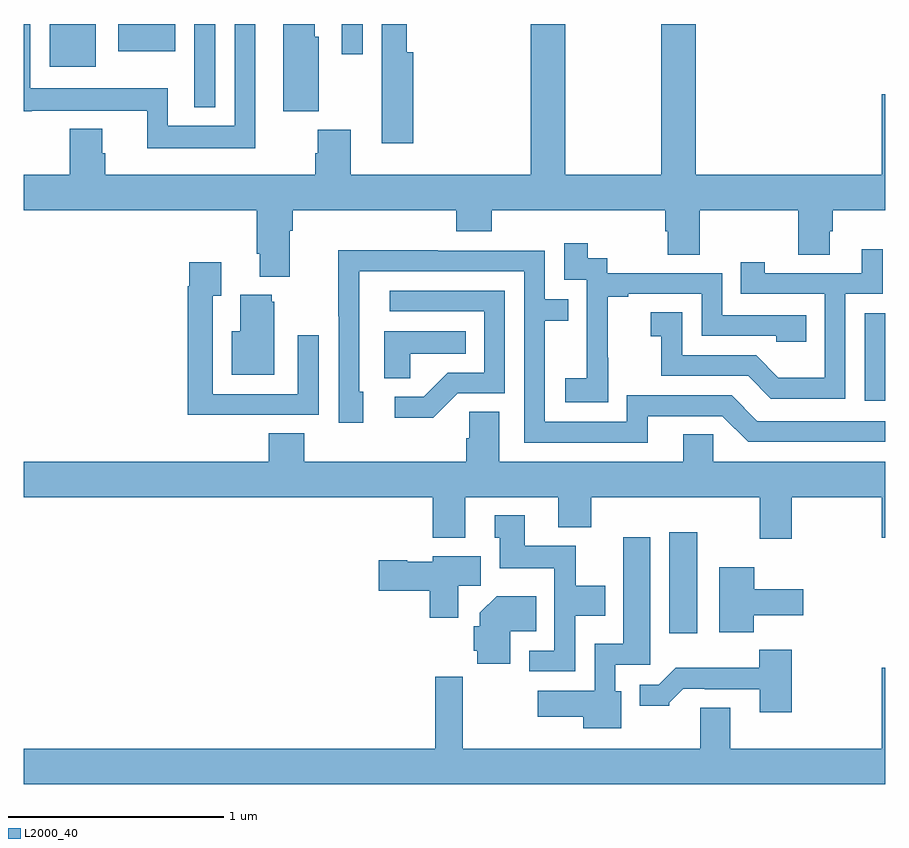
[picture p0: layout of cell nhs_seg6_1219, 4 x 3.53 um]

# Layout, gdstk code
import gdstk
lib = gdstk.Library(unit=1e-6, precision=1e-09)
def R(c, l, rs):  # rectangles x0, y0, x1, y1
    for r in rs: c.add(gdstk.rectangle(r[:2], r[2:], *l))
def P(c, l, *ps):  # polygons
    for p in ps: c.add(gdstk.Polygon(p, *l))
L2000_40 = (2000, 40)

nhs_seg6_1219 = lib.new_cell('nhs_seg6_1219')
R(nhs_seg6_1219, L2000_40, [(187.997,978.672,188.128,979.141), (188.904,979.752,189,980.157), (185.793,981.113,185.889,981.5), (185.12,981.302,185.335,981.5), (186.477,981.36,186.573,981.5), (185.439,981.374,185.704,981.5)])
P(nhs_seg6_1219, L2000_40, [(186.809,981.37),(186.779,981.37),(186.779,981.5),(186.663,981.5),(186.663,981.266),(186.662,981.266),(186.662,980.946),(186.809,980.946)],
  [(186.37,981.441),(186.352,981.441),(186.352,981.5),(186.206,981.5),(186.206,981.094),(186.37,981.094)],
  [(186.076,981.5),(185.979,981.5),(185.979,981.028),(185.67,981.028),(185.67,981.202),(185.031,981.202),(185.031,981.5),(185,981.5),(185,981.096),(185.038,981.096),(185.038,981.098),(185.573,981.098),(185.573,980.924),(186.076,980.924)],
  [(187.007,980.537),(187.172,980.537),(187.172,980.636),(187.979,980.636),(187.979,980.538),(187.991,980.538),(187.991,980.428),(188.139,980.428),(188.139,980.636),(188.596,980.636),(188.596,980.428),(188.743,980.428),(188.743,980.538),(188.756,980.538),(188.756,980.636),(189,980.636),(189,981.175),(188.984,981.175),(188.984,980.8),(188.12,980.8),(188.12,981.5),(187.96,981.5),(187.96,980.8),(187.515,980.8),(187.515,981.5),(187.355,981.5),(187.355,980.8),(186.518,980.8),(186.518,981.009),(186.365,981.009),(186.365,980.9),(186.353,980.9),(186.353,980.8),(185.378,980.8),(185.378,980.901),(185.365,980.901),(185.365,981.013),(185.213,981.013),(185.213,980.8),(185,980.8),(185,980.636),(186.083,980.636),(186.083,980.434),(186.095,980.434),(186.095,980.327),(186.235,980.327),(186.235,980.54),(186.248,980.54),(186.248,980.636),(187.007,980.636)],
  [(187.713,979.951),(187.712,979.951),(187.712,980.235),(187.807,980.235),(187.807,980.247),(188.148,980.247),(188.148,980.052),(188.493,980.052),(188.493,980.025),(188.633,980.025),(188.633,980.148),(188.244,980.148),(188.244,980.343),(187.71,980.343),(187.71,980.412),(187.618,980.412),(187.618,980.482),(187.509,980.482),(187.509,980.313),(187.614,980.313),(187.614,980.084),(187.613,980.084),(187.613,979.855),(187.515,979.855),(187.515,979.745),(187.713,979.745)],
  [(188.814,980.247),(188.988,980.247),(188.988,980.455),(188.891,980.455),(188.891,980.343),(188.44,980.343),(188.44,980.395),(188.329,980.395),(188.329,980.247),(188.718,980.247),(188.718,979.858),(188.504,979.858),(188.4,979.962),(188.058,979.962),(188.058,980.161),(187.911,980.161),(187.911,980.051),(187.96,980.051),(187.96,979.866),(188.363,979.866),(188.468,979.761),(188.814,979.761)],
  [(187.897,979.68),(188.244,979.68),(188.364,979.56),(189,979.56),(189,979.656),(188.406,979.656),(188.286,979.776),(187.8,979.776),(187.8,979.653),(187.419,979.653),(187.419,980.122),(187.529,980.122),(187.529,980.223),(187.419,980.223),(187.419,980.448),(186.923,980.448),(186.923,980.45),(186.46,980.45),(186.46,980.143),(186.462,980.143),(186.462,979.65),(186.577,979.65),(186.577,979.794),(186.558,979.794),(186.558,980.352),(187.323,980.352),(187.323,979.557),(187.897,979.557)],
  [(186.053,979.686),(186.369,979.686),(186.369,980.056),(186.273,980.056),(186.273,979.782),(185.877,979.782),(185.877,980.239),(185.917,980.239),(185.917,980.395),(185.769,980.395),(185.769,980.282),(185.761,980.282),(185.761,979.685),(186.053,979.685)],
  [(187.014,979.785),(187.233,979.785),(187.233,980.262),(186.699,980.262),(186.699,980.166),(187.137,980.166),(187.137,979.881),(186.968,979.881),(186.857,979.77),(186.723,979.77),(186.723,979.673),(186.901,979.673)],
  [(186.163,980.211),(186.152,980.211),(186.152,980.242),(186.005,980.242),(186.005,980.074),(185.966,980.074),(185.966,979.871),(186.163,979.871)],
  [(186.795,979.97),(187.052,979.97),(187.052,980.074),(186.674,980.074),(186.674,979.855),(186.795,979.855)],
  [(188.565,979.304),(188.984,979.304),(188.984,979.116),(189,979.116),(189,979.468),(188.202,979.468),(188.202,979.595),(188.063,979.595),(188.063,979.468),(187.207,979.468),(187.207,979.7),(187.068,979.7),(187.068,979.577),(187.055,979.577),(187.055,979.468),(186.302,979.468),(186.302,979.601),(186.137,979.601),(186.137,979.468),(185,979.468),(185,979.304),(186.899,979.304),(186.899,979.115),(187.051,979.115),(187.051,979.304),(187.481,979.304),(187.481,979.163),(187.634,979.163),(187.634,979.304),(188.417,979.304),(188.417,979.11),(188.565,979.11)],
  [(187.56,978.752),(187.699,978.752),(187.699,978.892),(187.563,978.892),(187.563,979.078),(187.327,979.078),(187.327,979.219),(187.187,979.219),(187.187,979.116),(187.211,979.116),(187.211,978.974),(187.464,978.974),(187.464,978.591),(187.347,978.591),(187.347,978.495),(187.56,978.495)],
  [(187.774,978.402),(187.746,978.402),(187.746,978.525),(187.909,978.525),(187.909,979.117),(187.784,979.117),(187.784,978.622),(187.65,978.622),(187.65,978.406),(187.386,978.406),(187.386,978.284),(187.598,978.284),(187.598,978.23),(187.774,978.23)],
  [(187.017,978.892),(187.123,978.892),(187.123,979.03),(186.9,979.03),(186.9,979.003),(186.78,979.003),(186.78,979.011),(186.648,979.011),(186.648,978.869),(186.884,978.869),(186.884,978.744),(187.017,978.744)],
  [(188.39,978.755),(188.62,978.755),(188.62,978.877),(188.392,978.877),(188.392,978.979),(188.228,978.979),(188.228,978.677),(188.39,978.677)],
  [(187.258,978.68),(187.379,978.68),(187.379,978.844),(187.196,978.844),(187.118,978.766),(187.118,978.705),(187.089,978.705),(187.089,978.591),(187.106,978.591),(187.106,978.53),(187.258,978.53)],
  [(188.565,978.595),(188.415,978.595),(188.415,978.511),(188.026,978.511),(187.947,978.432),(187.859,978.432),(187.859,978.335),(187.998,978.335),(187.998,978.35),(188.062,978.414),(188.161,978.414),(188.161,978.411),(188.417,978.411),(188.417,978.306),(188.565,978.306)],
  [(189,978.511),(188.984,978.511),(188.984,978.136),(188.281,978.136),(188.281,978.326),(188.141,978.326),(188.141,978.136),(187.039,978.136),(187.039,978.469),(186.91,978.469),(186.91,978.136),(185,978.136),(185,977.972),(189,977.972)])

lib.write_gds('nhs_seg6_1219.gds')
